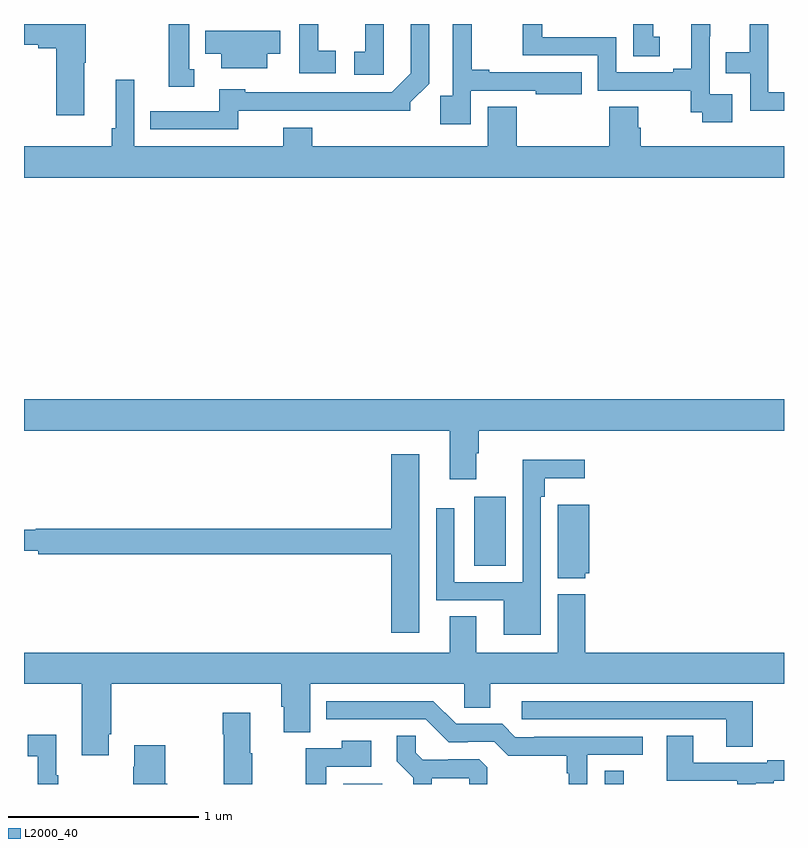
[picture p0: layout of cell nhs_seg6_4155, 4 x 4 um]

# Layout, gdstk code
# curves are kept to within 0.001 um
import gdstk
lib = gdstk.Library(unit=1e-6, precision=1e-09)
def R(c, l, rs):  # rectangles x0, y0, x1, y1
    for r in rs: c.add(gdstk.rectangle(r[:2], r[2:], *l))
def P(c, l, *ps):  # polygons
    for p in ps: c.add(gdstk.Polygon(p, *l))
L2000_40 = (2000, 40)

nhs_seg6_4155 = lib.new_cell('nhs_seg6_4155')
R(nhs_seg6_4155, L2000_40, [(358.679,921.5,358.885,921.502), (360.057,921.5,360.156,921.569), (359.369,922.648,359.536,923.011)])
P(nhs_seg6_4155, L2000_40, [(360.727,925.131),(360.609,925.131),(360.609,925.435),(360.611,925.435),(360.611,925.5),(360.512,925.5),(360.512,925.265),(360.416,925.265),(360.416,925.245),(360.117,925.245),(360.117,925.431),(359.727,925.431),(359.727,925.5),(359.626,925.5),(359.626,925.335),(360.021,925.335),(360.021,925.149),(360.508,925.149),(360.508,925.035),(360.571,925.035),(360.571,924.984),(360.727,924.984)],
  [(359.352,925.149),(359.693,925.149),(359.693,925.13),(359.936,925.13),(359.936,925.245),(359.449,925.245),(359.449,925.258),(359.357,925.258),(359.357,925.5),(359.256,925.5),(359.256,925.123),(359.191,925.123),(359.191,924.972),(359.352,924.972)],
  [(360.346,925.434),(360.313,925.434),(360.313,925.5),(360.206,925.5),(360.206,925.33),(360.346,925.33)],
  [(358.128,925.044),(359.034,925.043),(359.034,925.087),(359.133,925.186),(359.133,925.5),(359.036,925.5),(359.036,925.241),(358.935,925.14),(358.164,925.14),(358.164,925.156),(358.028,925.156),(358.028,925.041),(357.664,925.041),(357.664,924.945),(358.128,924.945)],
  [(361,925.14),(360.918,925.14),(360.918,925.5),(360.821,925.5),(360.821,925.351),(360.694,925.351),(360.694,925.242),(360.822,925.242),(360.822,925.044),(361,925.044)],
  [(358.894,925.5),(358.795,925.5),(358.795,925.353),(358.737,925.353),(358.737,925.233),(358.894,925.233)],
  [(357.895,925.263),(357.87,925.263),(357.87,925.5),(357.762,925.5),(357.762,925.169),(357.895,925.169)],
  [(358.642,925.358),(358.548,925.358),(358.548,925.5),(358.449,925.5),(358.449,925.242),(358.642,925.242)],
  [(357.316,925.295),(357.324,925.295),(357.324,925.5),(357,925.5),(357,925.391),(357.074,925.391),(357.074,925.372),(357.17,925.372),(357.17,925.02),(357.316,925.02)],
  [(358.279,925.343),(358.348,925.343),(358.348,925.465),(357.955,925.465),(357.955,925.343),(358.037,925.343),(358.037,925.268),(358.279,925.268)],
  [(361,924.856),(360.245,924.856),(360.245,924.954),(360.232,924.954),(360.232,925.064),(360.08,925.064),(360.08,924.856),(359.594,924.856),(359.594,925.064),(359.441,925.064),(359.441,924.856),(358.517,924.856),(358.517,924.955),(358.364,924.955),(358.364,924.856),(357.579,924.856),(357.579,925.207),(357.482,925.207),(357.482,924.952),(357.463,924.952),(357.463,924.856),(357,924.856),(357,924.692),(361,924.692)],
  [(359.38,923.24),(359.393,923.24),(359.393,923.36),(361,923.36),(361,923.524),(357,923.524),(357,923.36),(359.24,923.36),(359.24,923.103),(359.38,923.103)],
  [(359.08,923.236),(358.934,923.236),(358.934,922.844),(357.062,922.844),(357.062,922.837),(357,922.837),(357,922.727),(357.076,922.727),(357.076,922.708),(358.934,922.708),(358.934,922.296),(359.08,922.296)],
  [(359.721,923.012),(359.741,923.012),(359.741,923.108),(359.95,923.108),(359.95,923.206),(359.625,923.206),(359.625,922.563),(359.265,922.563),(359.265,922.951),(359.169,922.951),(359.169,922.467),(359.525,922.467),(359.525,922.286),(359.721,922.286)],
  [(359.955,922.608),(359.974,922.608),(359.974,922.969),(359.81,922.969),(359.81,922.583),(359.955,922.583)],
  [(357.445,921.763),(357.458,921.763),(357.458,922.028),(358.355,922.028),(358.355,921.906),(358.367,921.906),(358.367,921.772),(358.507,921.772),(358.507,922.028),(359.316,922.028),(359.316,921.901),(359.455,921.901),(359.455,922.028),(361,922.028),(361,922.192),(359.954,922.192),(359.954,922.498),(359.81,922.498),(359.81,922.192),(359.38,922.192),(359.38,922.382),(359.24,922.382),(359.24,922.192),(357,922.192),(357,922.028),(357.305,922.028),(357.305,921.651),(357.445,921.651)],
  [(359.964,921.654),(360.256,921.654),(360.256,921.75),(359.686,921.75),(359.686,921.747),(359.586,921.747),(359.517,921.816),(359.274,921.816),(359.154,921.936),(358.592,921.936),(358.592,921.84),(359.115,921.84),(359.235,921.72),(359.336,921.72),(359.336,921.723),(359.475,921.723),(359.548,921.65),(359.856,921.65),(359.856,921.557),(359.868,921.557),(359.868,921.5),(359.964,921.5)],
  [(360.835,921.936),(359.619,921.936),(359.619,921.84),(360.695,921.84),(360.695,921.697),(360.835,921.697)],
  [(358.2,921.661),(358.192,921.661),(358.192,921.874),(358.046,921.874),(358.046,921.761),(358.051,921.761),(358.051,921.5),(358.2,921.5)],
  [(357.181,921.547),(357.169,921.547),(357.169,921.76),(357.021,921.76),(357.021,921.647),(357.072,921.647),(357.072,921.5),(357.181,921.5)],
  [(359.147,921.53),(359.344,921.53),(359.344,921.5),(359.438,921.5),(359.438,921.589),(359.397,921.63),(359.232,921.63),(359.232,921.627),(359.098,921.627),(359.061,921.664),(359.061,921.755),(358.963,921.755),(358.963,921.619),(359.049,921.533),(359.049,921.5),(359.147,921.5)],
  [(360.85,921.504),(360.946,921.504),(360.946,921.516),(361,921.516),(361,921.625),(360.911,921.625),(360.911,921.612),(360.523,921.612),(360.523,921.755),(360.383,921.755),(360.383,921.516),(360.753,921.516),(360.753,921.5),(360.85,921.5)],
  [(358.59,921.591),(358.828,921.591),(358.828,921.727),(358.672,921.727),(358.672,921.687),(358.482,921.687),(358.482,921.5),(358.59,921.5)],
  [(357.754,921.501),(357.744,921.501),(357.744,921.703),(357.581,921.703),(357.581,921.59),(357.574,921.59),(357.574,921.5),(357.754,921.5)])

lib.write_gds('nhs_seg6_4155.gds')
